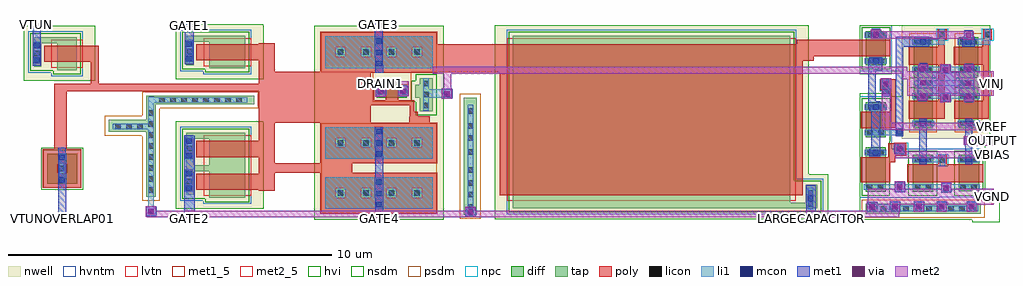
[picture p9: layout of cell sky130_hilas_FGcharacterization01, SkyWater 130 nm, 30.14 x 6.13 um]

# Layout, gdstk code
from math import pi, radians
import gdstk
lib = gdstk.Library(unit=1e-6, precision=1e-09)
def R(c, l, rs):  # rectangles x0, y0, x1, y1
    for r in rs: c.add(gdstk.rectangle(r[:2], r[2:], *l))
def A(c, l, x, y, w, h, nx, ny, dx, dy):  # array of equal rectangles
    R(c, l, [(x+i*dx, y+j*dy, x+i*dx+w, y+j*dy+h) for i in range(nx) for j in range(ny)])
nwell = (64, 20)
diff = (65, 20)
tap = (65, 44)
poly = (66, 20)
licon = (66, 44)
li1 = (67, 20)
mcon = (67, 44)
met1_5 = (68, 5)
met1 = (68, 20)
via = (68, 44)
met2_5 = (69, 5)
met2 = (69, 20)
hvi = (75, 20)
nsdm = (93, 44)
psdm = (94, 20)
npc = (95, 20)
hvntm = (125, 20)
lvtn = (125, 44)

sky130_hilas_li2m2 = lib.new_cell('sky130_hilas_li2m2')
R(sky130_hilas_li2m2, li1, [(-0.13,-0.12,0.19,-0.09), (-0.13,-0.09,0.2,0.1), (-0.13,0.1,0.19,0.14)])
R(sky130_hilas_li2m2, mcon, [(-0.07,-0.08,0.1,0.09)])
R(sky130_hilas_li2m2, met1, [(-0.14,-0.15,0.18,0.17)])
R(sky130_hilas_li2m2, via, [(-0.055,-0.065,0.095,0.085)])
R(sky130_hilas_li2m2, met2, [(-0.14,-0.15,0.17,0.18)])

sky130_hilas_fgvaractorc = lib.new_cell('sky130_hilas_FGVaractorCapacitor02')
R(sky130_hilas_fgvaractorc, nwell, [(-10.05,-3.8,-7.33,-2.15), (-10.05,-2.15,-7.34,-2.11)])
R(sky130_hilas_fgvaractorc, tap, [(-9.01,-3.47,-7.9,-2.65), (-9.72,-3.37,-9.5,-2.65), (-9.72,-2.65,-7.9,-2.46)])
R(sky130_hilas_fgvaractorc, poly, [(-9.41,-3.22,-7.49,-2.72)])
R(sky130_hilas_fgvaractorc, licon, [(-9.715,-3.04,-9.545,-2.87)])
R(sky130_hilas_fgvaractorc, li1, [(-9.75,-3.28,-9.52,-2.59)])
R(sky130_hilas_fgvaractorc, mcon, [(-9.72,-3.25,-9.55,-3.08), (-9.72,-2.8,-9.55,-2.63)])
R(sky130_hilas_fgvaractorc, met1, [(-9.77,-3.33,-9.51,-2.54)])
R(sky130_hilas_fgvaractorc, hvi, [(-10.05,-3.8,-7.33,-2.15), (-10.05,-2.15,-7.34,-2.11)])
R(sky130_hilas_fgvaractorc, nsdm, [(-9.135,-3.595,-7.775,-3.495), (-9.845,-3.495,-7.775,-2.335)])
R(sky130_hilas_fgvaractorc, hvntm, [(-9.195,-3.655,-7.715,-3.555), (-9.905,-3.555,-7.715,-2.275)])
R(sky130_hilas_fgvaractorc, lvtn, [(-9.19,-3.4,-7.72,-2.54)])

sky130_hilas_overlapcap0 = lib.new_cell('sky130_hilas_overlapCap02a')
R(sky130_hilas_overlapcap0, nwell, [(-5.21,-0.54,-1.21,1.1)])
R(sky130_hilas_overlapcap0, diff, [(-4.86,-0.21,-1.55,0.77)])
A(sky130_hilas_overlapcap0, poly, -4.25, 0.14, 0.5, 0.29, 3, 1, 0.79, 0)
R(sky130_hilas_overlapcap0, poly, [(-5.02,-0.35,-1.4,0.14), (-5.02,0.14,-4.54,0.43), (-1.88,0.14,-1.4,0.43), (-5.02,0.43,-1.4,0.91)])
A(sky130_hilas_overlapcap0, licon, -4.48, 0.2, 0.17, 0.17, 4, 1, 0.79, 0)
R(sky130_hilas_overlapcap0, li1, [(-4.86,-0.21,-1.55,0.77)])
R(sky130_hilas_overlapcap0, mcon, [(-3.29,-0.15,-3.12,0.02), (-3.29,0.19,-3.12,0.36), (-3.29,0.54,-3.12,0.71)])
R(sky130_hilas_overlapcap0, met1, [(-3.32,-0.35,-3.08,-0.13), (-3.32,-0.13,-3.09,0.13), (-3.33,0.13,-3.09,0.77)])
R(sky130_hilas_overlapcap0, hvi, [(-5.21,-0.54,-1.21,1.1)])
R(sky130_hilas_overlapcap0, psdm, [(-4.985,-0.335,-1.425,0.895)])

sky130_hilas_fgvaractort = lib.new_cell('sky130_hilas_FGVaractorTunnelCap01')
R(sky130_hilas_fgvaractort, nwell, [(-10.05,-3.8,-7.83,-2.11)])
R(sky130_hilas_fgvaractort, tap, [(-9.01,-3.47,-8.4,-2.65), (-9.72,-3.37,-9.5,-2.65), (-9.72,-2.65,-8.4,-2.46)])
R(sky130_hilas_fgvaractort, poly, [(-9.41,-3.22,-8,-2.72)])
R(sky130_hilas_fgvaractort, licon, [(-9.715,-3.04,-9.545,-2.87)])
R(sky130_hilas_fgvaractort, li1, [(-9.75,-3.28,-9.52,-2.59)])
R(sky130_hilas_fgvaractort, mcon, [(-9.72,-3.25,-9.55,-3.08), (-9.72,-2.8,-9.55,-2.63)])
R(sky130_hilas_fgvaractort, met1, [(-9.77,-3.33,-9.51,-2.54)])
R(sky130_hilas_fgvaractort, hvi, [(-10.05,-3.8,-7.83,-2.11)])
R(sky130_hilas_fgvaractort, nsdm, [(-9.135,-3.595,-8.275,-3.495), (-9.845,-3.495,-8.275,-2.335)])
R(sky130_hilas_fgvaractort, hvntm, [(-9.195,-3.655,-8.215,-3.555), (-9.905,-3.555,-8.215,-2.275)])
R(sky130_hilas_fgvaractort, lvtn, [(-9.19,-3.4,-8.22,-2.54)])

sky130_hilas_noverlapcap = lib.new_cell('sky130_hilas_nOverlapCap01')
R(sky130_hilas_noverlapcap, diff, [(-0.44,-0.25,0.49,0.68)])
R(sky130_hilas_noverlapcap, poly, [(-0.57,-0.38,0.62,0.07), (-0.57,0.07,-0.12,0.36), (0.17,0.07,0.62,0.36), (-0.57,0.36,0.62,0.81)])
R(sky130_hilas_noverlapcap, licon, [(-0.06,0.13,0.11,0.3)])
R(sky130_hilas_noverlapcap, li1, [(-0.06,-0.22,0.11,0.67)])
R(sky130_hilas_noverlapcap, mcon, [(-0.06,-0.22,0.11,-0.05), (-0.06,0.47,0.11,0.64)])
R(sky130_hilas_noverlapcap, met1, [(-0.09,-0.43,0.14,0.86)])
R(sky130_hilas_noverlapcap, hvi, [(-0.625,-0.435,0.675,0.865)])
R(sky130_hilas_noverlapcap, nsdm, [(-0.565,-0.375,0.615,0.805)])
R(sky130_hilas_noverlapcap, hvntm, [(-0.625,-0.435,0.675,0.865)])

sky130_hilas_pfetdevice0 = lib.new_cell('sky130_hilas_pFETdevice01')
R(sky130_hilas_pfetdevice0, nwell, [(-0.79,-0.78,0.82,0.43)])
R(sky130_hilas_pfetdevice0, diff, [(-0.45,-0.19,0.48,0.2)])
R(sky130_hilas_pfetdevice0, poly, [(0.56,-0.78,0.82,-0.63), (0.56,-0.63,0.71,-0.42), (-0.68,-0.42,0.71,-0.27), (-0.68,-0.27,-0.53,0.18), (-0.18,-0.27,0.21,0.33), (-0.79,0.18,-0.53,0.33)])
R(sky130_hilas_pfetdevice0, licon, [(-0.41,-0.08,-0.24,0.09), (0.27,-0.08,0.44,0.09)])
R(sky130_hilas_pfetdevice0, li1, [(-0.41,-0.16,-0.24,0.17), (0.27,-0.16,0.44,0.17)])
R(sky130_hilas_pfetdevice0, psdm, [(-0.575,-0.315,0.605,0.325)])

sky130_hilas_fghugevarac = lib.new_cell('sky130_hilas_FGHugeVaractorCapacitor01')
R(sky130_hilas_fghugevarac, nwell, [(-5.56,-8.16,4.73,-6.77), (-5.56,-6.77,4.13,-2.17)])
R(sky130_hilas_fghugevarac, tap, [(-5,-7.83,4.4,-7.66), (-5,-7.66,3.56,-2.76), (4.04,-7.66,4.4,-7.1), (-5,-2.76,3.57,-2.5)])
R(sky130_hilas_fghugevarac, poly, [(-5.4,-7.42,3.95,-2.76)])
R(sky130_hilas_fghugevarac, licon, [(4.1,-7.78,4.27,-7.61), (4.1,-7.44,4.27,-7.27)])
R(sky130_hilas_fghugevarac, li1, [(4.1,-7.86,4.27,-7.19)])
R(sky130_hilas_fghugevarac, mcon, [(4.1,-7.61,4.27,-7.44)])
R(sky130_hilas_fghugevarac, met1, [(4.07,-7.7,4.31,-7.34)])
R(sky130_hilas_fghugevarac, hvi, [(-5.56,-8.16,4.73,-6.77), (-5.56,-6.77,4.13,-2.17)])
R(sky130_hilas_fghugevarac, nsdm, [(-5.125,-7.955,4.525,-6.975), (-5.125,-6.975,3.685,-2.885), (-5.125,-2.885,3.695,-2.375)])
R(sky130_hilas_fghugevarac, hvntm, [(-5.185,-8.015,4.585,-6.915), (-5.185,-6.915,3.745,-2.945), (-5.185,-2.945,3.755,-2.315)])
R(sky130_hilas_fghugevarac, lvtn, [(-5.18,-7.6,3.74,-2.58)])

sky130_hilas_poly2li = lib.new_cell('sky130_hilas_poly2li')
R(sky130_hilas_poly2li, poly, [(-0.09,-0.14,0.18,0.19)])
R(sky130_hilas_poly2li, licon, [(-0.04,-0.06,0.13,0.11)])
R(sky130_hilas_poly2li, li1, [(-0.04,-0.14,0.13,0.19)])
R(sky130_hilas_poly2li, npc, [(-0.14,-0.16,0.23,0.21)])

sky130_hilas_li2m1 = lib.new_cell('sky130_hilas_li2m1')
R(sky130_hilas_li2m1, li1, [(-0.08,-0.05,0.11,0.18)])
R(sky130_hilas_li2m1, mcon, [(-0.07,-0.02,0.1,0.15)])
R(sky130_hilas_li2m1, met1, [(-0.1,-0.08,0.13,0.21)])

sky130_hilas_m12m2 = lib.new_cell('sky130_hilas_m12m2')
R(sky130_hilas_m12m2, met1, [(-0.06,-0.1,0.2,0.22)])
R(sky130_hilas_m12m2, via, [(-0.005,-0.015,0.145,0.135)])
R(sky130_hilas_m12m2, met2, [(-0.09,-0.07,0.23,0.19)])

sky130_hilas_poly2m2 = lib.new_cell('sky130_hilas_poly2m2')
R(sky130_hilas_poly2m2, poly, [(-0.09,-0.08,0.24,0.25)])
R(sky130_hilas_poly2m2, licon, [(-0.01,0,0.16,0.17)])
R(sky130_hilas_poly2m2, li1, [(-0.01,-0.2,0.16,-0.18), (-0.03,-0.18,0.18,0.25)])
R(sky130_hilas_poly2m2, mcon, [(-0.01,-0.2,0.16,-0.03)])
R(sky130_hilas_poly2m2, met1, [(-0.04,-0.26,0.19,-0.03), (-0.08,-0.03,0.24,0.29)])
R(sky130_hilas_poly2m2, via, [(0.005,0.055,0.155,0.205)])
R(sky130_hilas_poly2m2, met2, [(-0.08,-0.03,0.24,0.29)])
R(sky130_hilas_poly2m2, npc, [(-0.11,-0.1,0.26,0.27)])

sky130_hilas_ndiffthoxco = lib.new_cell('sky130_hilas_nDiffThOxContact')
R(sky130_hilas_ndiffthoxco, diff, [(-0.24,0.13,0.39,0.41)])
R(sky130_hilas_ndiffthoxco, licon, [(-0.18,0.18,-0.01,0.35), (0.16,0.18,0.33,0.35)])
R(sky130_hilas_ndiffthoxco, li1, [(-0.26,0.18,0.41,0.35)])
R(sky130_hilas_ndiffthoxco, mcon, [(-0.01,0.18,0.16,0.35)])
R(sky130_hilas_ndiffthoxco, met1, [(-0.12,0.15,0.27,0.38)])
R(sky130_hilas_ndiffthoxco, hvi, [(-0.425,-0.15,0.575,0.69)])
R(sky130_hilas_ndiffthoxco, nsdm, [(-0.365,0.005,0.515,0.535)])

sky130_hilas_fgcharacter = lib.new_cell('sky130_hilas_FGcharacterization01')
R(sky130_hilas_fgcharacter, nwell, [(-4.09,4.27,-3.87,4.38), (17.99,5.09,20.73,8.59), (1.23,5.58,1.74,5.78), (0.04,5.59,1.19,5.78), (2.79,5.59,3.06,5.77), (-0.15,5.78,1.74,5.79), (3.06,5.78,3.85,5.79), (-0.15,5.79,3.85,6.97), (0.04,6.97,1.19,7.14), (1.23,6.97,1.74,7.14)])
R(sky130_hilas_fgcharacter, diff, [(16.88,3.45,17.5,4.83), (18.33,3.45,18.97,4.6), (19.75,3.46,20.39,4.59), (16.88,5.13,17.51,5.97), (18.36,5.42,18.96,6.67), (19.76,5.42,20.36,6.67), (18.36,6.97,18.96,8.22), (19.76,6.97,20.36,8.22), (16.88,7.51,17.51,8.41)])
R(sky130_hilas_fgcharacter, tap, [(4.48,2.74,4.87,6.36), (16.89,2.78,20.43,3.08), (-5.33,3.3,-5.04,5.3), (-4.09,4.27,-3.87,4.38), (-6.49,5.3,-5.04,5.68), (-5.33,5.68,-5.04,6.16), (3.12,5.94,3.52,5.98), (3.11,5.98,3.52,6.36), (-5.33,6.16,-1.99,6.42), (2.97,6.36,3.52,6.75), (18.36,6.67,18.96,6.97), (19.76,6.67,20.36,6.97), (3.11,6.75,3.52,6.96)])
R(sky130_hilas_fgcharacter, poly, [(-1.86,3.49,-1.37,4.04), (16.73,3.75,17.64,4.37), (18.17,3.75,20.51,4.3), (-1.86,4.04,1.03,4.33), (-1.86,4.33,-1.37,5.58), (16.73,4.37,17.79,4.52), (17.58,4.52,17.79,4.57), (17.58,4.57,18.14,4.95), (-8.17,4.76,-7.79,6.55), (17.76,4.95,18.14,4.96), (16.73,5.42,17.59,5.43), (16.73,5.43,17.81,5.92), (-1.86,5.58,0.08,5.59), (1.09,5.58,1.6,5.59), (-1.86,5.59,1.6,6.55), (2.79,5.59,3.42,5.77), (18.22,5.71,19.32,6.26), (19.62,5.71,20.68,6.26), (2.91,5.77,3.42,5.78), (17.65,5.92,17.81,6.58), (19.12,6.26,19.32,7.38), (20.51,6.26,20.68,7.38), (-8.17,6.55,1.6,6.79), (17.34,6.58,17.81,6.92), (-7.05,6.79,-6.8,7.46), (-1.86,6.79,1.6,7.14), (-1.86,7.14,0.08,7.16), (2.91,7.14,3.42,7.15), (3.65,7.14,5.61,8.01), (-1.86,7.16,-1.37,8.03), (18.22,7.38,19.32,7.93), (19.6,7.38,20.68,7.93), (-7.08,7.46,-6.8,7.96), (14.76,7.5,15.28,7.64), (14.76,7.64,17.64,8.14), (19.12,7.93,19.32,8.15), (20.5,7.93,20.68,8.14)])
A(sky130_hilas_fgcharacter, licon, 17.69, 2.85, 0.17, 0.17, 3, 1, 0.36, 0)
A(sky130_hilas_fgcharacter, licon, 18.75, 2.85, 0.17, 0.17, 5, 1, 0.34, 0)
A(sky130_hilas_fgcharacter, licon, -5.27, 3.42, 0.17, 0.17, 1, 8, 0, 0.34)
A(sky130_hilas_fgcharacter, licon, -6.29, 5.38, 0.17, 0.17, 3, 1, 0.34, 0)
A(sky130_hilas_fgcharacter, licon, 3.23, 6.03, 0.17, 0.17, 1, 3, 0, 0.34)
A(sky130_hilas_fgcharacter, licon, -4.93, 6.2, 0.17, 0.17, 8, 1, 0.34, 0)
R(sky130_hilas_fgcharacter, licon, [(17.01,2.84,17.18,3.01), (17.35,2.84,17.52,3.01), (4.59,2.9,4.76,3.07), (4.6,3.28,4.77,3.45), (16.92,3.52,17.09,3.69), (17.26,3.52,17.43,3.69), (18.4,3.52,18.57,3.69), (18.74,3.52,18.91,3.69), (19.81,3.52,19.98,3.69), (20.15,3.52,20.32,3.69), (4.6,3.64,4.77,3.81), (4.6,4.04,4.77,4.21), (18.4,4.36,18.57,4.53), (18.74,4.36,18.91,4.53), (19.81,4.36,19.98,4.53), (20.15,4.36,20.32,4.53), (16.93,4.58,17.1,4.75), (17.27,4.58,17.44,4.75), (4.6,4.59,4.77,4.76), (4.6,5.02,4.77,5.19), (16.93,5.19,17.1,5.36), (17.27,5.19,17.44,5.36), (4.6,5.4,4.77,5.57), (18.4,5.48,18.57,5.65), (18.74,5.48,18.91,5.65), (19.81,5.48,19.98,5.65), (20.15,5.48,20.32,5.65), (4.6,5.86,4.77,6.03), (18.4,6.32,18.57,6.49), (18.74,6.32,18.91,6.49), (19.81,6.32,19.98,6.49), (20.15,6.32,20.32,6.49), (18.57,6.73,18.74,6.9), (19.97,6.73,20.14,6.9), (18.4,7.14,18.57,7.31), (18.74,7.14,18.91,7.31), (19.81,7.14,19.98,7.31), (20.15,7.14,20.32,7.31), (18.4,7.99,18.57,8.16), (18.74,7.99,18.91,8.16), (19.81,7.99,19.98,8.16), (20.15,7.99,20.32,8.16), (16.94,8.2,17.11,8.37), (17.28,8.2,17.45,8.37)])
R(sky130_hilas_fgcharacter, li1, [(4.59,2.76,4.77,3.49), (16.93,2.84,17.78,2.85), (16.93,2.85,20.36,3.01), (-5.27,2.97,-5.1,5.38), (17.1,3.01,20.36,3.02), (17.1,3.02,17.78,3.07), (4.6,3.49,4.77,6.14), (16.83,3.52,20.41,3.69), (18.32,4.36,19.2,4.53), (19.73,4.36,20.4,4.53), (16.85,4.58,17.52,4.75), (16.85,5.19,17.99,5.36), (-6.37,5.38,-5.1,5.55), (18.32,5.48,19,5.65), (19.73,5.48,20.4,5.65), (-5.27,5.55,-5.1,6.2), (3.23,5.95,3.4,6.35), (-5.27,6.2,-2.21,6.37), (18.32,6.32,20.4,6.49), (3.23,6.35,3.83,6.61), (-5.27,6.37,-5.1,6.39), (3.23,6.61,3.4,6.96), (18.4,6.73,20.22,6.9), (18.32,7.14,20.4,7.31), (18.32,7.99,19.33,8.16), (19.73,7.99,20.73,8.17), (16.86,8.2,17.53,8.37)])
R(sky130_hilas_fgcharacter, mcon, [(18.57,4.36,18.74,4.53), (19.98,4.36,20.15,4.53), (17.1,4.58,17.27,4.75), (18.57,5.48,18.74,5.65), (19.98,5.48,20.15,5.65), (18.57,6.32,18.74,6.49), (19.98,6.32,20.15,6.49), (18.74,6.73,18.91,6.9), (19.8,6.73,19.97,6.9), (18.57,7.14,18.74,7.31), (19.98,7.14,20.15,7.31), (18.57,7.99,18.74,8.16), (19.98,7.99,20.15,8.16), (17.11,8.2,17.28,8.37)])
R(sky130_hilas_fgcharacter, met1_5, [(-8.06,2.59,-7.8,2.69), (-4.15,2.59,-3.84,2.66), (1.74,2.59,1.98,2.66), (15.05,2.61,15.34,2.66), (-4.14,8.55,-3.87,8.64), (-8.84,8.57,-8.58,8.64), (1.73,8.58,1.97,8.64)])
R(sky130_hilas_fgcharacter, met1, [(-8.06,2.59,-7.8,2.77), (-4.15,2.59,-3.84,5.18), (1.74,2.59,1.98,4.47), (15.05,2.59,15.34,3.65), (-8.05,2.77,-7.8,4.64), (18.54,4.3,18.77,5.71), (19.95,4.3,20.18,5.71), (17,4.55,17.33,4.78), (17.06,4.78,17.33,6.07), (17.81,5.16,18.05,7.93), (16.97,6.07,17.33,6.25), (16.97,6.25,17.2,7.19), (18.54,6.26,18.77,6.48), (19.94,6.26,20.18,6.48), (18.49,6.48,20.24,7.14), (18.54,7.14,18.77,7.37), (19.94,7.14,20.18,7.37), (16.97,7.19,17.39,7.39), (-4.14,7.39,-3.87,8.64), (16.97,7.39,17.33,7.48), (17.06,7.48,17.33,7.61), (-8.84,7.75,-8.58,8.64), (17.81,7.93,18.84,8.24), (19.87,7.93,20.25,8.24), (17.05,8.17,17.34,8.4), (1.73,8.23,1.97,8.64)])
R(sky130_hilas_fgcharacter, met2_5, [(20.77,3.05,20.83,3.54), (20.77,4.48,20.83,4.71), (20.77,4.87,20.83,5.19), (20.77,5.35,20.83,5.58), (20.76,6.42,20.83,7.18), (1.74,6.75,2.04,6.86), (2.47,6.76,2.76,6.87)])
R(sky130_hilas_fgcharacter, met2, [(-5.31,2.66,17.92,2.87), (17.19,2.87,17.63,3.05), (16.95,3.05,20.83,3.12), (16.94,3.12,20.83,3.21), (16.95,3.21,20.83,3.54), (17.8,4.48,20.83,4.71), (20.21,4.87,20.83,5.19), (17.9,5.35,20.83,5.36), (17.38,5.36,20.83,5.58), (17.38,5.58,20.17,5.59), (17.38,5.59,17.65,6.87), (1.74,6.4,2.04,6.86), (2.47,6.41,2.77,6.87), (18.16,6.42,20.83,6.93), (3.85,6.43,4.09,7.1), (18.02,6.93,20.83,7.1), (3.51,7.1,20.83,7.18), (3.51,7.18,18.16,7.31), (17.04,8.17,19.93,8.41)])
R(sky130_hilas_fgcharacter, hvi, [(20.175,2.51,21.015,2.595), (16.705,2.595,21.015,3.265), (16.695,3.265,21.015,3.35), (16.695,3.35,20.575,5.09), (-4.4,3.905,-3.56,4.745), (16.695,5.09,20.73,6.155), (1.065,5.165,1.905,5.59), (2.9,5.345,3.74,5.78), (0.04,5.59,1.905,5.78), (-0.15,5.78,3.85,6.97), (17.695,6.155,20.73,6.395), (17.99,6.395,20.73,7.175), (0.04,6.97,1.74,7.14), (2.895,6.97,3.735,7.48), (17.695,7.175,20.73,7.325), (16.695,7.325,20.73,8.59), (16.695,8.59,17.695,8.595)])
R(sky130_hilas_fgcharacter, nsdm, [(16.755,3.325,17.625,5.005), (18.205,3.325,19.095,4.725), (19.625,3.335,20.515,4.715), (-4.215,4.145,-3.745,4.505), (16.755,5.005,17.635,6.095), (2.995,5.815,3.645,5.855), (2.985,5.855,3.645,6.235), (2.845,6.235,3.645,6.875), (18.235,6.67,19.085,6.97), (19.635,6.67,20.485,6.97), (2.985,6.875,3.645,7.085), (16.755,7.385,17.635,8.535)])
R(sky130_hilas_fgcharacter, psdm, [(4.355,2.615,4.995,6.485), (16.765,2.655,20.555,3.205), (-5.455,3.175,-4.915,5.175), (0.075,4.025,3.635,4.345), (-6.615,5.175,-4.915,5.805), (18.235,5.295,19.085,8.345), (19.635,5.295,20.485,8.345), (-5.455,5.805,-4.915,6.035), (-5.455,6.035,-1.865,6.545), (1.665,6.875,2.845,7.145)])
R(sky130_hilas_fgcharacter, hvntm, [(16.695,3.265,19.155,3.275), (16.695,3.275,20.575,4.775), (16.695,4.775,19.155,4.785), (16.695,4.785,17.695,6.395), (16.695,7.175,17.695,8.595)])
R(sky130_hilas_fgcharacter, lvtn, [(-3.56,4.19,-2.09,4.34)])
sky130_hilas_fgcharacter.add(gdstk.Reference(sky130_hilas_li2m2, (-5.2,2.83)))
sky130_hilas_fgcharacter.add(gdstk.Reference(sky130_hilas_fgvaractorc, (5.63,6.73)))
sky130_hilas_fgcharacter.add(gdstk.Reference(sky130_hilas_fgvaractorc, (5.63,7.74)))
sky130_hilas_fgcharacter.add(gdstk.Reference(sky130_hilas_overlapcap0, (5.06,4.68)))
sky130_hilas_fgcharacter.add(gdstk.Reference(sky130_hilas_overlapcap0, (5.06,3.13)))
sky130_hilas_fgcharacter.add(gdstk.Reference(sky130_hilas_fgvaractorc, (5.63,10.73)))
sky130_hilas_fgcharacter.add(gdstk.Reference(sky130_hilas_overlapcap0, (5.06,7.48)))
sky130_hilas_fgcharacter.add(gdstk.Reference(sky130_hilas_fgvaractort, (0.93,10.68)))
sky130_hilas_fgcharacter.add(gdstk.Reference(sky130_hilas_noverlapcap, (-7.95,3.95)))
sky130_hilas_fgcharacter.add(gdstk.Reference(sky130_hilas_pfetdevice0, (2.24,6.55)))
sky130_hilas_fgcharacter.add(gdstk.Reference(sky130_hilas_li2m2, (4.66,2.81)))
sky130_hilas_fgcharacter.add(gdstk.Reference(sky130_hilas_fghugevarac, (10.99,10.77)))
sky130_hilas_fgcharacter.add(gdstk.Reference(sky130_hilas_li2m2, (1.89,6.54)))
sky130_hilas_fgcharacter.add(gdstk.Reference(sky130_hilas_li2m2, (2.58,6.55)))
sky130_hilas_fgcharacter.add(gdstk.Reference(sky130_hilas_li2m2, (3.94,6.47)))
sky130_hilas_fgcharacter.add(gdstk.Reference(sky130_hilas_li2m2, (17.06,2.98)))
sky130_hilas_fgcharacter.add(gdstk.Reference(sky130_hilas_li2m2, (18.51,2.99)))
sky130_hilas_fgcharacter.add(gdstk.Reference(sky130_hilas_li2m2, (17.77,2.99)))
sky130_hilas_fgcharacter.add(gdstk.Reference(sky130_hilas_li2m2, (17.92,3.59)))
sky130_hilas_fgcharacter.add(gdstk.Reference(sky130_hilas_li2m2, (20.14,2.99)))
sky130_hilas_fgcharacter.add(gdstk.Reference(sky130_hilas_li2m2, (19.21,2.99)))
sky130_hilas_fgcharacter.add(gdstk.Reference(sky130_hilas_li2m2, (19.35,3.57)))
sky130_hilas_fgcharacter.add(gdstk.Reference(sky130_hilas_poly2li, (18.05,4.8), rotation=pi))
sky130_hilas_fgcharacter.add(gdstk.Reference(sky130_hilas_li2m2, (17.95,4.79), rotation=pi))
sky130_hilas_fgcharacter.add(gdstk.Reference(sky130_hilas_li2m1, (17.91,5.24)))
sky130_hilas_fgcharacter.add(gdstk.Reference(sky130_hilas_m12m2, (20,4.97)))
sky130_hilas_fgcharacter.add(gdstk.Reference(sky130_hilas_poly2li, (19.21,4.4)))
sky130_hilas_fgcharacter.add(gdstk.Reference(sky130_hilas_poly2m2, (17.43,6.66)))
sky130_hilas_fgcharacter.add(gdstk.Reference(sky130_hilas_ndiffthoxco, (17.12,5.8)))
sky130_hilas_fgcharacter.add(gdstk.Reference(sky130_hilas_m12m2, (18.59,7.2)))
sky130_hilas_fgcharacter.add(gdstk.Reference(sky130_hilas_m12m2, (18.57,6.34)))
sky130_hilas_fgcharacter.add(gdstk.Reference(sky130_hilas_m12m2, (18.59,6.76)))
sky130_hilas_fgcharacter.add(gdstk.Reference(sky130_hilas_m12m2, (20,6.32)))
sky130_hilas_fgcharacter.add(gdstk.Reference(sky130_hilas_m12m2, (20,7.19)))
sky130_hilas_fgcharacter.add(gdstk.Reference(sky130_hilas_m12m2, (20,6.74)))
sky130_hilas_fgcharacter.add(gdstk.Reference(sky130_hilas_li2m2, (19.33,7.21)))
sky130_hilas_fgcharacter.add(gdstk.Reference(sky130_hilas_li2m2, (19.33,6.37)))
sky130_hilas_fgcharacter.add(gdstk.Reference(sky130_hilas_m12m2, (17.13,8.27)))
sky130_hilas_fgcharacter.add(gdstk.Reference(sky130_hilas_ndiffthoxco, (17.12,7.23)))
sky130_hilas_fgcharacter.add(gdstk.Reference(sky130_hilas_m12m2, (19.99,8.22)))
sky130_hilas_fgcharacter.add(gdstk.Reference(sky130_hilas_poly2li, (20.6,8.28)))
sky130_hilas_fgcharacter.add(gdstk.Reference(sky130_hilas_poly2li, (19.2,8.28)))
sky130_hilas_fgcharacter.add(gdstk.Label('VTUN', (-8.71,8.605), layer=68, texttype=5))
sky130_hilas_fgcharacter.add(gdstk.Label('GATE1', (-4.005,8.595), layer=68, texttype=5))
sky130_hilas_fgcharacter.add(gdstk.Label('GATE3', (1.85,8.61), layer=68, texttype=5))
sky130_hilas_fgcharacter.add(gdstk.Label('VTUNOVERLAP01', (-7.93,2.64), layer=68, texttype=5))
sky130_hilas_fgcharacter.add(gdstk.Label('GATE2', (-3.995,2.625), layer=68, texttype=5))
sky130_hilas_fgcharacter.add(gdstk.Label('GATE4', (1.86,2.625), layer=68, texttype=5))
sky130_hilas_fgcharacter.add(gdstk.Label('LARGECAPACITOR', (15.195,2.635), layer=68, texttype=5))
sky130_hilas_fgcharacter.add(gdstk.Label('VGND', (20.8,3.295), layer=69, texttype=5))
sky130_hilas_fgcharacter.add(gdstk.Label('VINJ', (20.795,6.8), layer=69, texttype=5))
sky130_hilas_fgcharacter.add(gdstk.Label('OUTPUT', (20.8,5.03), layer=69, texttype=5))
sky130_hilas_fgcharacter.add(gdstk.Label('VREF', (20.8,5.465), layer=69, texttype=5))
sky130_hilas_fgcharacter.add(gdstk.Label('VBIAS', (20.8,4.595), layer=69, texttype=5))
sky130_hilas_fgcharacter.add(gdstk.Label('DRAIN1', (1.89,6.805), layer=69, texttype=5))
sky130_hilas_fgcharacter.add(gdstk.Label('SOURCE1', (2.615,6.815), layer=69, texttype=5))

lib.write_gds('sky130_hilas_FGcharacterization01.gds')
